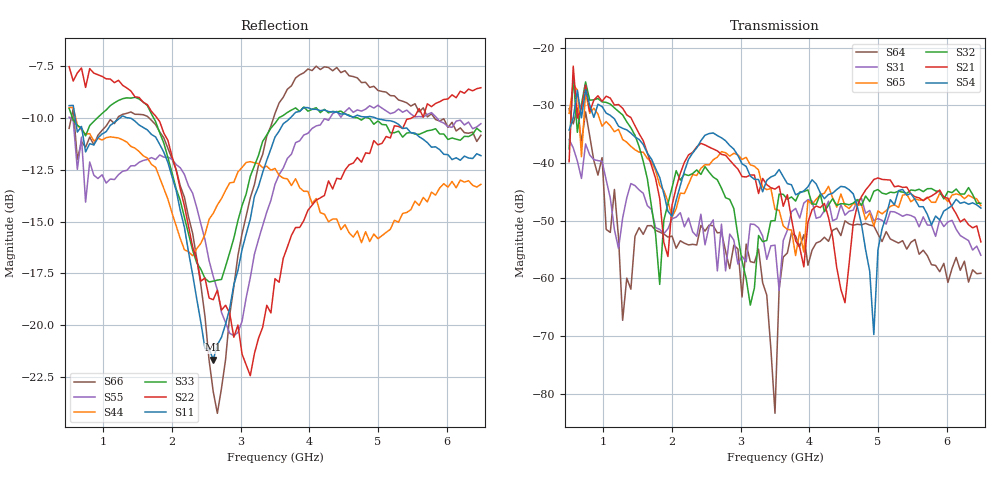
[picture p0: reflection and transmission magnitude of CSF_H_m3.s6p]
!Keysight Technologies,M9804A,MY58100912,A.14.10.03
!Date: Thursday, April 27, 2023 10:28:33
!Correction: S11(C  6-Port  )
!S12(C  6-Port  )
!S13(C  6-Port  )
!S14(C  6-Port  )
!S15(C  6-Port  )
!S16(C  6-Port  )
!S21(C  6-Port  )
!S22(C  6-Port  )
!S23(C  6-Port  )
!S24(C  6-Port  )
!S25(C  6-Port  )
!S26(C  6-Port  )
!S31(C  6-Port  )
!S32(C  6-Port  )
!S33(C  6-Port  )
!S34(C  6-Port  )
!S35(C  6-Port  )
!S36(C  6-Port  )
!S41(C  6-Port  )
!S42(C  6-Port  )
!S43(C  6-Port  )
!S44(C  6-Port  )
!S45(C  6-Port  )
!S46(C  6-Port  )
!S51(C  6-Port  )
!S52(C  6-Port  )
!S53(C  6-Port  )
!S54(C  6-Port  )
!S55(C  6-Port  )
!S56(C  6-Port  )
!S61(C  6-Port  )
!S62(C  6-Port  )
!S63(C  6-Port  )
!S64(C  6-Port  )
!S65(C  6-Port  )
!S66(C  6-Port  )
!S6P File: Measurement: :
# Hz S  RI  R 50
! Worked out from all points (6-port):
!   101 points, 500 MHz to 6.5 GHz, reference 50 ohm
!   strongest paths, dB at 500 MHz, 2 GHz, 3.5 GHz, 5 GHz, 6.5 GHz:
!     S54: -34.3, -49.3, -42.1, -55.1, -47.8
!     S21: -39.8, -47.3, -44.5, -42.6, -53.7
!     S32: -37.5, -44.3, -50.0, -44.6, -47.0
!     S65: -31.4, -49.4, -48.0, -48.3, -47.4
!     S31: -35.9, -49.7, -54.2, -49.6, -56.0
!     S64: -30.6, -52.7, -83.4, -52.3, -59.1
!   lowest |S11| = -21.7 dB at 2.6 GHz (marker M1), VSWR 1.18, Z = 42.6 + j1.98 ohm
!   |S11| at or under -10 dB: 588.7 MHz to 1.237 GHz (648.7 MHz wide, 71 % of centre); 1.396 GHz to 3.719 GHz (2.323 GHz wide, 90.8 % of centre); 4.973 GHz to end of sweep
